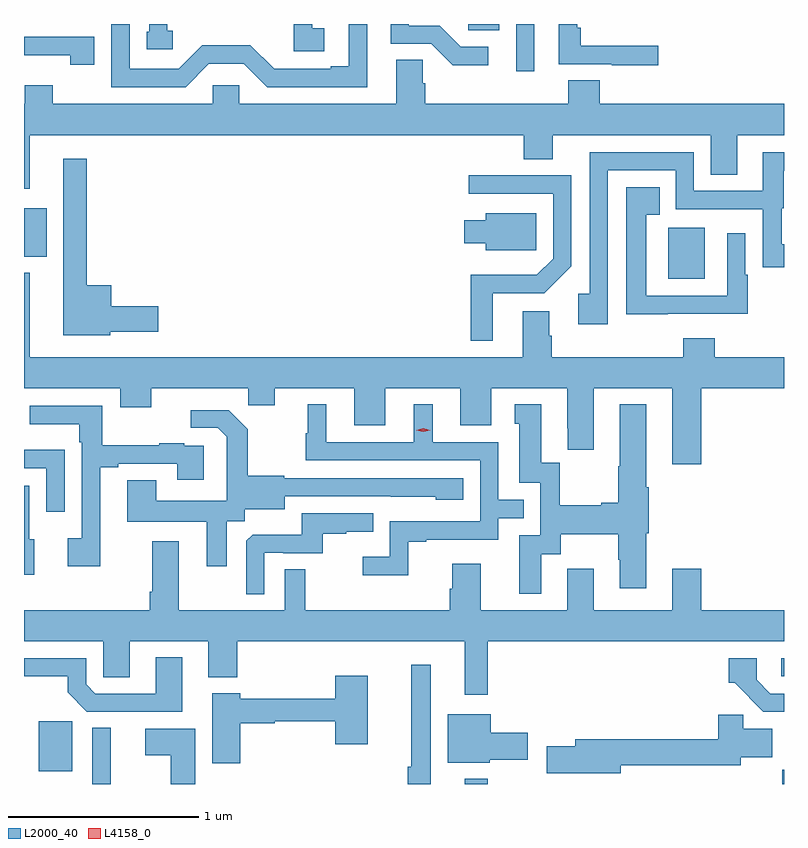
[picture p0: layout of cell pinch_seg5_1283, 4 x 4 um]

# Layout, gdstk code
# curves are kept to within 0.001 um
import gdstk
lib = gdstk.Library(unit=1e-6, precision=1e-09)
def R(c, l, rs):  # rectangles x0, y0, x1, y1
    for r in rs: c.add(gdstk.rectangle(r[:2], r[2:], *l))
def P(c, l, *ps):  # polygons
    for p in ps: c.add(gdstk.Polygon(p, *l))
L2000_40 = (2000, 40)
L4158_0 = (4158, 0)

pinch_seg5_1283 = lib.new_cell('pinch_seg5_1283')
R(pinch_seg5_1283, L2000_40, [(408.918,850.681,409.016,850.976), (410.879,850.681,411.001,850.708), (412.55,850.681,412.56,850.755), (408.638,850.748,408.814,851.012), (412.545,851.247,412.56,851.343), (411.95,853.34,412.144,853.608), (408.56,853.457,408.679,853.711), (411.15,854.433,411.246,854.681), (410.898,854.648,411.061,854.681)])
P(pinch_seg5_1283, L2000_40, [(411.004,854.562),(410.859,854.562),(410.748,854.673),(410.586,854.673),(410.586,854.681),(410.49,854.681),(410.49,854.577),(410.703,854.577),(410.816,854.465),(411.004,854.465)],
  [(409.533,854.472),(409.716,854.472),(409.839,854.349),(410.367,854.349),(410.367,854.681),(410.27,854.681),(410.27,854.458),(410.174,854.458),(410.174,854.445),(409.876,854.445),(409.752,854.569),(409.498,854.569),(409.374,854.445),(409.116,854.445),(409.116,854.681),(409.02,854.681),(409.02,854.349),(409.41,854.349)],
  [(411.898,854.566),(411.491,854.566),(411.491,854.662),(411.471,854.662),(411.471,854.681),(411.375,854.681),(411.375,854.469),(411.653,854.469),(411.653,854.465),(411.898,854.465)],
  [(410.14,854.658),(410.077,854.658),(410.077,854.681),(409.98,854.681),(409.98,854.538),(410.14,854.538)],
  [(409.344,854.646),(409.314,854.646),(409.314,854.681),(409.218,854.681),(409.218,854.64),(409.205,854.64),(409.205,854.547),(409.344,854.547)],
  [(408.931,854.613),(408.56,854.613),(408.56,854.516),(408.803,854.516),(408.803,854.466),(408.931,854.466)],
  [(408.589,854.096),(411.191,854.096),(411.191,853.969),(411.343,853.969),(411.343,854.096),(412.175,854.096),(412.175,853.888),(412.315,853.888),(412.315,854.096),(412.56,854.096),(412.56,854.26),(411.59,854.26),(411.59,854.384),(411.425,854.384),(411.425,854.26),(410.672,854.26),(410.672,854.369),(410.658,854.369),(410.658,854.492),(410.519,854.492),(410.519,854.26),(409.692,854.26),(409.692,854.358),(409.554,854.358),(409.554,854.26),(408.711,854.26),(408.711,854.359),(408.563,854.359),(408.563,854.26),(408.56,854.26),(408.56,853.815),(408.589,853.815)],
  [(411.633,853.911),(411.99,853.911),(411.99,853.707),(412.449,853.707),(412.449,853.401),(412.56,853.401),(412.56,853.522),(412.548,853.522),(412.548,853.71),(412.558,853.71),(412.558,853.909),(412.56,853.909),(412.56,854.007),(412.448,854.007),(412.448,853.803),(412.086,853.803),(412.086,854.007),(411.537,854.007),(411.537,853.262),(411.477,853.262),(411.477,853.101),(411.633,853.101)],
  [(409.014,853.061),(409.267,853.061),(409.267,853.196),(409.018,853.196),(409.018,853.306),(408.889,853.306),(408.889,853.972),(408.767,853.972),(408.767,853.043),(409.014,853.043)],
  [(411.028,853.263),(411.298,853.263),(411.441,853.406),(411.441,853.884),(410.901,853.884),(410.901,853.788),(411.345,853.788),(411.345,853.446),(411.259,853.36),(410.911,853.36),(410.911,853.014),(411.028,853.014)],
  [(411.947,853.155),(412.369,853.155),(412.369,853.362),(412.356,853.362),(412.356,853.579),(412.26,853.579),(412.26,853.251),(411.835,853.251),(411.835,853.676),(411.905,853.676),(411.905,853.822),(411.731,853.822),(411.731,853.153),(411.947,853.153)],
  [(411.255,853.684),(410.99,853.684),(410.99,853.648),(410.876,853.648),(410.876,853.526),(410.99,853.526),(410.99,853.49),(411.255,853.49)],
  [(412.124,852.764),(412.56,852.764),(412.56,852.928),(412.196,852.928),(412.196,853.027),(412.031,853.027),(412.031,852.928),(411.338,852.928),(411.338,853.04),(411.325,853.04),(411.325,853.168),(411.185,853.168),(411.185,852.928),(408.589,852.928),(408.589,853.372),(408.56,853.372),(408.56,852.764),(409.067,852.764),(409.067,852.665),(409.231,852.665),(409.231,852.764),(409.741,852.764),(409.741,852.674),(409.879,852.674),(409.879,852.764),(410.297,852.764),(410.297,852.57),(410.461,852.57),(410.461,852.764),(410.855,852.764),(410.855,852.57),(411.019,852.57),(411.019,852.764),(411.419,852.764),(411.419,852.553),(411.422,852.553),(411.422,852.441),(411.559,852.441),(411.559,852.764),(411.971,852.764),(411.971,852.363),(412.124,852.363)],
  [(411.283,851.89),(411.385,851.89),(411.385,851.996),(411.688,851.996),(411.688,851.862),(411.695,851.862),(411.695,851.712),(411.835,851.712),(411.835,852),(411.848,852),(411.848,852.244),(411.835,852.244),(411.835,852.679),(411.695,852.679),(411.695,852.353),(411.688,852.353),(411.688,852.161),(411.599,852.161),(411.599,852.148),(411.381,852.148),(411.381,852.371),(411.283,852.371),(411.283,852.679),(411.143,852.679),(411.143,852.576),(411.167,852.576),(411.167,852.267),(411.276,852.267),(411.276,851.991),(411.167,851.991),(411.167,851.682),(411.283,851.682)],
  [(410.583,851.955),(410.677,851.955),(410.677,851.967),(411.057,851.967),(411.057,852.081),(411.191,852.081),(411.191,852.177),(411.057,852.177),(411.057,852.48),(410.71,852.48),(410.71,852.679),(410.612,852.679),(410.612,852.48),(410.152,852.48),(410.152,852.679),(410.054,852.679),(410.054,852.528),(410.043,852.528),(410.043,852.384),(410.961,852.384),(410.961,852.063),(410.484,852.063),(410.484,851.878),(410.343,851.878),(410.343,851.78),(410.583,851.78)],
  [(408.961,852.348),(409.057,852.348),(409.057,852.366),(409.367,852.366),(409.367,852.282),(409.507,852.282),(409.507,852.462),(409.403,852.462),(409.403,852.475),(409.271,852.475),(409.271,852.464),(408.973,852.464),(408.973,852.672),(408.591,852.672),(408.591,852.575),(408.852,852.575),(408.852,852.479),(408.864,852.479),(408.864,851.974),(408.789,851.974),(408.789,851.826),(408.961,851.826)],
  [(409.627,852.064),(409.722,852.064),(409.722,852.128),(409.933,852.128),(409.933,852.195),(410.727,852.194),(410.727,852.176),(410.872,852.176),(410.872,852.291),(409.929,852.291),(409.929,852.304),(409.737,852.304),(409.737,852.549),(409.637,852.649),(409.437,852.649),(409.437,852.555),(409.581,852.555),(409.628,852.508),(409.628,852.413),(409.626,852.413),(409.626,852.172),(409.255,852.172),(409.255,852.281),(409.103,852.281),(409.103,852.062),(409.523,852.062),(409.523,851.826),(409.627,851.826)],
  [(408.774,852.439),(408.56,852.439),(408.56,852.342),(408.678,852.342),(408.678,852.114),(408.774,852.114)],
  [(408.613,851.97),(408.588,851.97),(408.588,852.252),(408.56,852.252),(408.56,851.783),(408.613,851.783)],
  [(409.824,851.898),(409.924,851.898),(409.924,851.895),(410.132,851.895),(410.132,851.997),(410.255,851.997),(410.255,852.008),(410.399,852.008),(410.399,852.105),(410.022,852.105),(410.022,851.993),(409.763,851.993),(409.731,851.961),(409.731,851.681),(409.824,851.681)],
  [(411.001,851.432),(412.56,851.432),(412.56,851.596),(412.124,851.596),(412.124,851.815),(411.971,851.815),(411.971,851.596),(411.559,851.596),(411.559,851.815),(411.419,851.815),(411.419,851.596),(410.965,851.596),(410.965,851.839),(410.813,851.839),(410.813,851.709),(410.801,851.709),(410.801,851.596),(410.041,851.596),(410.041,851.81),(409.932,851.81),(409.932,851.596),(409.375,851.596),(409.375,851.959),(409.235,851.959),(409.235,851.692),(409.223,851.692),(409.223,851.596),(408.56,851.596),(408.56,851.432),(408.978,851.432),(408.978,851.242),(409.117,851.242),(409.117,851.432),(409.529,851.432),(409.529,851.243),(409.682,851.243),(409.682,851.432),(410.879,851.432),(410.879,851.151),(411.001,851.151)],
  [(409.393,851.347),(409.253,851.347),(409.253,851.157),(408.936,851.157),(408.888,851.205),(408.888,851.343),(408.56,851.343),(408.56,851.247),(408.79,851.247),(408.79,851.163),(408.891,851.061),(409.393,851.061)],
  [(412.56,851.157),(412.488,851.157),(412.416,851.229),(412.416,851.343),(412.269,851.343),(412.269,851.213),(412.3,851.213),(412.452,851.061),(412.56,851.061)],
  [(410.701,851.308),(410.597,851.308),(410.597,850.771),(410.58,850.771),(410.58,850.681),(410.701,850.681)],
  [(409.697,851.002),(409.88,851.002),(409.88,851.01),(410.198,851.01),(410.198,850.89),(410.368,850.89),(410.368,851.251),(410.198,851.251),(410.198,851.131),(409.697,851.131),(409.697,851.158),(409.55,851.158),(409.55,850.791),(409.697,850.791)],
  [(411.012,850.808),(411.211,850.808),(411.211,850.95),(411.016,850.95),(411.016,851.047),(410.789,851.047),(410.789,850.793),(411.012,850.793)],
  [(411.7,850.78),(412.332,850.78),(412.332,850.822),(412.497,850.822),(412.497,850.972),(412.346,850.972),(412.346,851.045),(412.214,851.045),(412.214,850.916),(411.461,850.916),(411.461,850.88),(411.312,850.88),(411.312,850.738),(411.7,850.738)],
  [(409.462,850.972),(409.197,850.972),(409.197,850.832),(409.333,850.832),(409.333,850.681),(409.462,850.681)])
P(pinch_seg5_1283, L4158_0, [(410.661,852.534),(410.625,852.544),(410.625,852.544),(410.625,852.544),(410.661,852.554),(410.697,852.544),(410.697,852.544),(410.697,852.544)])

lib.write_gds('pinch_seg5_1283.gds')
